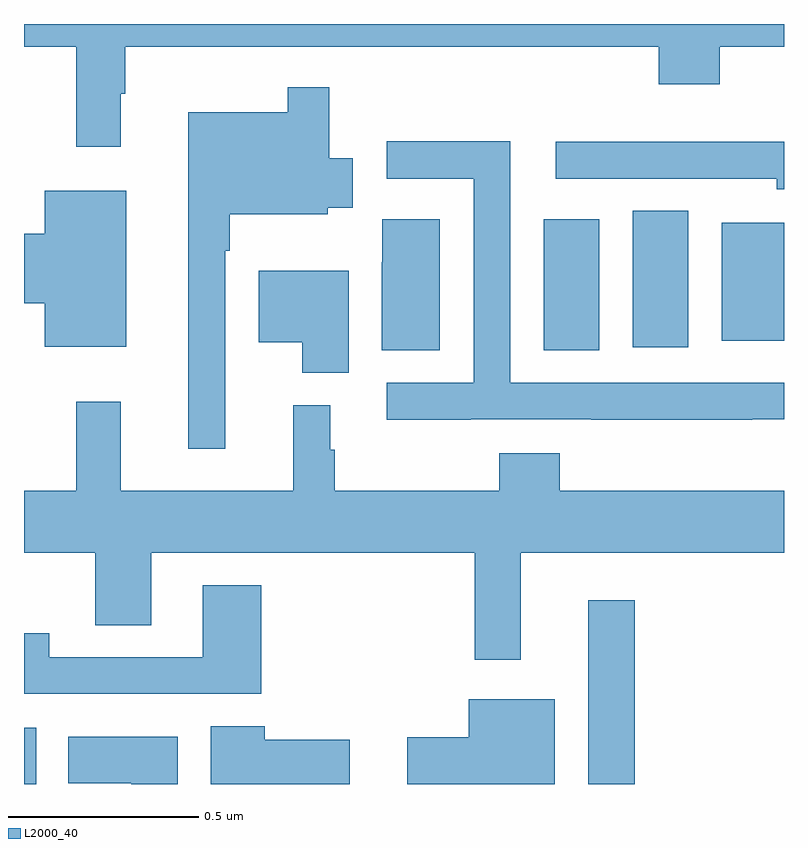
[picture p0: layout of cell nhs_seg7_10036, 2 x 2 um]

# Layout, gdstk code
import gdstk
lib = gdstk.Library(unit=1e-6, precision=1e-09)
def R(c, l, rs):  # rectangles x0, y0, x1, y1
    for r in rs: c.add(gdstk.rectangle(r[:2], r[2:], *l))
def P(c, l, *ps):  # polygons
    for p in ps: c.add(gdstk.Polygon(p, *l))
L2000_40 = (2000, 40)

nhs_seg7_10036 = lib.new_cell('nhs_seg7_10036')
R(nhs_seg7_10036, L2000_40, [(245,1008,245.032,1008.148), (246.485,1008,246.607,1008.484), (246.368,1009.141,246.514,1009.486), (246.602,1009.149,246.748,1009.508), (246.836,1009.166,247,1009.477)])
P(nhs_seg7_10036, L2000_40, [(245.254,1009.817),(245.266,1009.817),(245.266,1009.94),(246.671,1009.94),(246.671,1009.841),(246.831,1009.841),(246.831,1009.94),(247,1009.94),(247,1010),(245,1010),(245,1009.94),(245.137,1009.94),(245.137,1009.677),(245.254,1009.677)],
  [(245.529,1009.403),(245.542,1009.403),(245.542,1009.499),(245.799,1009.499),(245.799,1009.517),(245.865,1009.517),(245.865,1009.647),(245.803,1009.647),(245.803,1009.834),(245.694,1009.834),(245.694,1009.768),(245.432,1009.768),(245.432,1008.882),(245.529,1008.882)],
  [(246.176,1008.96),(246.493,1008.96),(246.493,1008.959),(246.917,1008.959),(246.917,1008.96),(247,1008.96),(247,1009.056),(246.279,1009.056),(246.279,1009.692),(245.955,1009.692),(245.955,1009.593),(246.183,1009.593),(246.183,1009.056),(245.955,1009.056),(245.955,1008.959),(246.176,1008.959)],
  [(247,1009.69),(246.399,1009.69),(246.399,1009.593),(246.981,1009.593),(246.981,1009.565),(247,1009.565)],
  [(245.269,1009.561),(245.054,1009.561),(245.054,1009.448),(245,1009.448),(245,1009.265),(245.054,1009.265),(245.054,1009.151),(245.269,1009.151)],
  [(246.094,1009.486),(245.943,1009.486),(245.943,1009.373),(245.942,1009.373),(245.942,1009.141),(246.094,1009.141)],
  [(245.854,1009.351),(245.618,1009.351),(245.618,1009.163),(245.732,1009.163),(245.732,1009.082),(245.854,1009.082)],
  [(246.307,1008.608),(247,1008.608),(247,1008.772),(246.41,1008.772),(246.41,1008.871),(246.25,1008.871),(246.25,1008.772),(245.818,1008.772),(245.818,1008.879),(245.806,1008.879),(245.806,1008.997),(245.708,1008.997),(245.708,1008.772),(245.255,1008.772),(245.255,1009.006),(245.137,1009.006),(245.137,1008.772),(245,1008.772),(245,1008.608),(245.188,1008.608),(245.188,1008.418),(245.335,1008.418),(245.335,1008.608),(246.186,1008.608),(246.186,1008.327),(246.307,1008.327)],
  [(245.624,1008.523),(245.471,1008.523),(245.471,1008.333),(245.067,1008.333),(245.067,1008.397),(245,1008.397),(245,1008.237),(245.624,1008.237)],
  [(246.397,1008.223),(246.17,1008.223),(246.17,1008.123),(246.009,1008.123),(246.009,1008),(246.397,1008)],
  [(245.857,1008.116),(245.634,1008.116),(245.634,1008.152),(245.492,1008.152),(245.492,1008),(245.857,1008)],
  [(245.404,1008.124),(245.117,1008.124),(245.117,1008.002),(245.282,1008.002),(245.282,1008),(245.404,1008)])

lib.write_gds('nhs_seg7_10036.gds')
